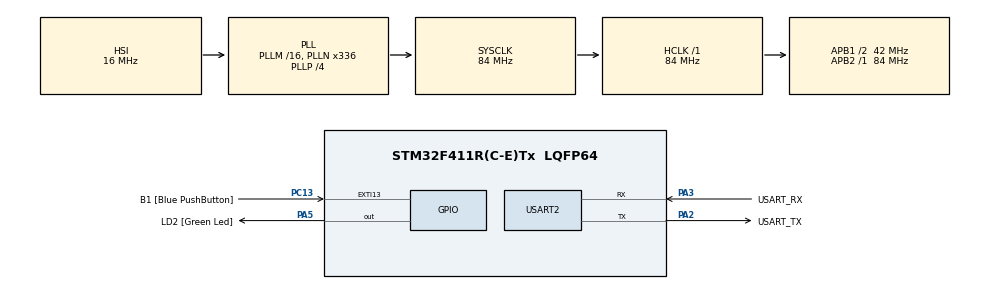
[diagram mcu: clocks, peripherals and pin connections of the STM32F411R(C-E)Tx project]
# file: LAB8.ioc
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Mcu.Family=STM32F4
PC15-OSC32_OUT.Mode=LSE-External-Oscillator
RCC.CortexFreq_Value=84000000
PC13-ANTI_TAMP.GPIO_Label=B1 [Blue PushButton]
PA14.GPIO_Label=TCK
PH1\ -\ OSC_OUT.Mode=HSE-External-Clock-Source
RCC.APB1CLKDivider=RCC_HCLK_DIV2
PC14-OSC32_IN.Signal=RCC_OSC32_IN
NVIC.USART2_IRQn=true\:0\:0\:false\:false\:true\:true\:true
RCC.SYSCLKSource=RCC_SYSCLKSOURCE_PLLCLK
ProjectManager.StackSize=0x400
PA13.Signal=SYS_JTMS-SWDIO
PA3.Mode=Asynchronous
PH0\ -\ OSC_IN.Mode=HSE-External-Clock-Source
PH0\ -\ OSC_IN.Signal=RCC_OSC_IN
ProjectManager.TargetToolchain=STM32CubeIDE
RCC.HCLKFreq_Value=84000000
RCC.APB2TimFreq_Value=84000000
PC15-OSC32_OUT.Signal=RCC_OSC32_OUT
RCC.AHBFreq_Value=84000000
PA5.Signal=GPIO_Output
RCC.HSE_VALUE=8000000
PH1\ -\ OSC_OUT.Signal=RCC_OSC_OUT
board=NUCLEO-F411RE
PC13-ANTI_TAMP.Signal=GPXTI13
RCC.VCOOutputFreq_Value=336000000
RCC.APB2Freq_Value=84000000
PC14-OSC32_IN.Mode=LSE-External-Oscillator
PA14.Mode=Serial_Wire
PA13.Mode=Serial_Wire
Mcu.Name=STM32F411R(C-E)Tx
PA2.Signal=USART2_TX
PA13.GPIO_Label=TMS
RCC.FLatency-AdvancedSettings=FLASH_LATENCY_2
RCC.48MHZClocksFreq_Value=84000000
PB3.Signal=SYS_JTDO-SWO
RCC.SYSCLKFreq_VALUE=84000000
Mcu.Package=LQFP64
PA5.GPIO_Label=LD2 [Green Led]
USART2.VirtualMode=VM_ASYNC
PC13-ANTI_TAMP.GPIO_ModeDefaultEXTI=GPIO_MODE_IT_FALLING
PA2.GPIO_Label=USART_TX
PA14.Signal=SYS_JTCK-SWCLK
ProjectManager.HeapSize=0x200
RCC.HSI_VALUE=16000000
RCC.PLLP=RCC_PLLP_DIV4
NVIC.PriorityGroup=NVIC_PRIORITYGROUP_0
RCC.PLLN=336
RCC.APB1TimFreq_Value=84000000
PA2.Mode=Asynchronous
RCC.APB1Freq_Value=42000000
PA3.GPIO_Label=USART_RX
PA3.Signal=USART2_RX
PB3.GPIO_Label=SWO

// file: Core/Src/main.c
/* USER CODE BEGIN Header */
/**
  ******************************************************************************
  * @file           : main.c
  * @brief          : Main program body
  ******************************************************************************
  * @attention
  *
  * <h2><center>&copy; Copyright (c) 2021 STMicroelectronics.
  * All rights reserved.</center></h2>
  *
  * This software component is licensed by ST under BSD 3-Clause license,
  * the "License"; You may not use this file except in compliance with the
  * License. You may obtain a copy of the License at:
  *                        opensource.org/licenses/BSD-3-Clause
  *
  ******************************************************************************
  */
/* USER CODE END Header */
#include "main.h"

/* USER CODE BEGIN Includes */
#include <stdio.h>
#include <string.h>
/* USER CODE END Includes */

/* USER CODE BEGIN PM */
char TxDataBuffer[32] =
{ 0 };
char RxDataBuffer[1] =
{ 0 };
char ShowHz[32] =
{ 0 } ;
enum _state
{
	State_start = 0 ,
	State_menu ,
	State_seclect_menu,
	State_menu_1,
	State_menu_2

};

/* USER CODE END PM */

UART_HandleTypeDef huart2;

/* USER CODE BEGIN PV */
int StateDisplay = 0 ;
int Datain = 0;
int8_t SpeedHz = 0 ;
uint32_t LED2 = 0 ;

int CheckLED = 1 ;
int CheckButton = 0 ;

float T = 0 ;
int f = 1 ;
/* USER CODE END PV */

void SystemClock_Config(void);
static void MX_GPIO_Init(void);
static void MX_USART2_UART_Init(void);
/* USER CODE BEGIN PFP */
void UARTRecieveAndResponsePolling();
int16_t UARTRecieveIT();
void Hz();
/* USER CODE END PFP */

int main(void)
{

  /* MCU Configuration--------------------------------------------------------*/

  /* Reset of all peripherals, Initializes the Flash interface and the Systick. */
HAL_Init();

  /* Configure the system clock */
  SystemClock_Config();

  /* Initialize all configured peripherals */
  MX_GPIO_Init();
  MX_USART2_UART_Init();
  /* USER CODE BEGIN 2 */
  uint32_t Timestmp = 0  ;
  uint32_t ButtonTimestamp = 0 ;
  GPIO_PinState BlueButton[2] ;
int point = 0 ;
//  {
//  char temp[]="HELLO WORLD\r\n please type something to test UART\r\n";
//  HAL_UART_Transmit(&huart2, (uint8_t*)temp, strlen(temp),10);
//
//  }
  /* USER CODE END 2 */

  /* Infinite loop */
  /* USER CODE BEGIN WHILE */
  while (1)
  {
		/*Method 1 Polling Mode*/

//		UARTRecieveAndResponsePolling();

		/*Method 2 Interrupt Mode*/
		HAL_UART_Receive_IT(&huart2,  (uint8_t*)RxDataBuffer, 1);

		/*Method 2 W/ 1 Char Received*/
//		int16_t inputchar = UARTRecieveIT();
//		if(inputchar!=-1)
//		{
//
//			sprintf(TxDataBuffer, "[%c]", inputchar);
//			HAL_UART_Transmit(&huart2, (uint8_t*)TxDataBuffer, strlen(TxDataBuffer), 1000);
//		}

		/*This section just simmulate Work Load*/
//		HAL_Delay(100);
//		HAL_GPIO_TogglePin(LD2_GPIO_Port, LD2_Pin);

		switch (StateDisplay) {
			case State_start:
				StateDisplay = State_menu ;
				break;
			case State_menu:
			  RxDataBuffer[0] = 0 ;
			  {
			  char temp[]="*********************************\r\n";
			  HAL_UART_Transmit(&huart2, (uint8_t*)temp, strlen(temp),10);
			  }
			  {
			  char temp[]="****************MENU*************\r\n";
			  HAL_UART_Transmit(&huart2, (uint8_t*)temp, strlen(temp),10);
			  }
			  {
			  char temp[]="*********************************\r\n";
			  HAL_UART_Transmit(&huart2, (uint8_t*)temp, strlen(temp),10);
			  }
			  {
			  char temp[]="please press right\r\n press 0 : LED Control\r\n press 1 : buttonstate\r\n";
			  HAL_UART_Transmit(&huart2, (uint8_t*)temp, strlen(temp),10);
			  }
			  {
			  char temp[]="********************************\r\n";
			  HAL_UART_Transmit(&huart2, (uint8_t*)temp, strlen(temp),10);
			  }
			  StateDisplay = State_seclect_menu ;
				break;
			case State_seclect_menu :

				switch (RxDataBuffer[0]) {
					case 0:
						break;
					case 48 : //0
						{
						char temp[]="MENU 0 : LED Control\r\n";
						HAL_UART_Transmit(&huart2, (uint8_t*)temp, strlen(temp),100);
						}
						{
						char temp[]=" press a : Speed Up +1 Hz\r\n press s : Speed Up -1 Hz\r\n press d : ON/OFF LED 2\r\n press x : exit\r\n";
						HAL_UART_Transmit(&huart2, (uint8_t*)temp, strlen(temp),100);
						}
						RxDataBuffer[0] = 0 ;
						StateDisplay = State_menu_1 ;
						break;
					case 49 : //1
						{
						char temp[]="MENU 1 : buttonstate\r\n";
						HAL_UART_Transmit(&huart2, (uint8_t*)temp, strlen(temp),100);
						}
						{
						char temp[]=" press x : exit\r\n Show Button status press bluebutton\r\n";
						HAL_UART_Transmit(&huart2, (uint8_t*)temp, strlen(temp),100);
						}
						RxDataBuffer[0] = 0 ;
						StateDisplay = State_menu_2 ;
						break;
					default:
						{
						char temp[]="Wrong, please press again.\r\n";
						HAL_UART_Transmit(&huart2, (uint8_t*)temp, strlen(temp),10);
						}
						RxDataBuffer[0] = 0 ;
						StateDisplay = State_seclect_menu ;
						break;
					}
				break ;
			case State_menu_1 :
				//RxDataBuffer[0] = 0 ;
				switch (RxDataBuffer[0]) {
					case 0:
						break;
					case 97 : //a
						f = f + 1 ;
						sprintf(ShowHz, "frequency %d Hz \r\n", f);
						HAL_UART_Transmit(&huart2, (uint8_t*)ShowHz, strlen(ShowHz), 1000);
						RxDataBuffer[0] = 0 ;
						StateDisplay = State_menu_1 ;
						break ;
					case 115 : //s

						f = f - 1 ;
						sprintf(ShowHz, "frequency %d Hz\r\n", f);
						HAL_UART_Transmit(&huart2, (uint8_t*)ShowHz, strlen(ShowHz), 1000);

						RxDataBuffer[0] = 0 ;
						StateDisplay = State_menu_1 ;

						break ;
					case 100 : //d
						//HAL_GPIO_TogglePin(LD2_GPIO_Port, LD2_Pin);
						if(HAL_GPIO_ReadPin(LD2_GPIO_Port, LD2_Pin) == GPIO_PIN_SET)
						{
							CheckLED = 0;
							HAL_GPIO_WritePin(LD2_GPIO_Port, LD2_Pin, GPIO_PIN_RESET);
							{
							char temp[]="LED2 OFF\r\n";
							HAL_UART_Transmit(&huart2, (uint8_t*)temp, strlen(temp),10);
							}
							RxDataBuffer[0] = 0 ;
							StateDisplay = State_menu_1 ;
						}
						else
						{
							CheckLED = 1 ;
							{
							HAL_GPIO_WritePin(LD2_GPIO_Port, LD2_Pin, GPIO_PIN_SET);
							char temp[]="LED2 ON\r\n";
							HAL_UART_Transmit(&huart2, (uint8_t*)temp, strlen(temp),10);
							}
							RxDataBuffer[0] = 0 ;
							StateDisplay = State_menu_1 ;
						}
						StateDisplay = State_menu_1 ;
						break;
					case 120 : //x
						{
						char temp[]="back to menu\r\n";
						HAL_UART_Transmit(&huart2, (uint8_t*)temp, strlen(temp),10);
						}
						RxDataBuffer[0] = 0 ;
						StateDisplay = State_menu ;
						break;
					default:
						{
						char temp[]="Wrong, please press again.\r\n";
						HAL_UART_Transmit(&huart2, (uint8_t*)temp, strlen(temp),10);
						}
						RxDataBuffer[0] = 0 ;
						StateDisplay = State_menu_1 ;
						break;
				}

				break;
			case State_menu_2 :
				//RxDataBuffer[0] = 0 ;
				CheckButton = 1 ;
				switch (RxDataBuffer[0]) {
					case 0:
						break;
					case 120 : //x
						CheckButton = 0 ;
						{
						char temp[]="back to menu\r\n";
						HAL_UART_Transmit(&huart2, (uint8_t*)temp, strlen(temp),10);
						}
						RxDataBuffer[0] = 0 ;
						CheckButton =0 ;
						StateDisplay = State_menu ;
						break;
					default:
						{
						char temp[]="Wrong, please press again.\r\n";
						HAL_UART_Transmit(&huart2, (uint8_t*)temp, strlen(temp),10);
						}
						RxDataBuffer[0] = 0 ;
						StateDisplay = State_menu_2 ;
						break;
					}

				break;

		}//switch

		if(CheckLED == 1)
		{
			T = f*1000 ;
			LED2 = T / 2 ;
			if(HAL_GetTick() - Timestmp >LED2)
			{
				Timestmp = HAL_GetTick() ;
				HAL_GPIO_TogglePin(LD2_GPIO_Port, LD2_Pin);

			}
		}
		if(CheckButton == 1)
			{
				if(HAL_GetTick() - ButtonTimestamp >= 100 )
				{
					ButtonTimestamp = HAL_GetTick() ;
					BlueButton[0] = HAL_GPIO_ReadPin(GPIOC, GPIO_PIN_13) ;
					if(BlueButton[1] == GPIO_PIN_SET && BlueButton[0] == GPIO_PIN_RESET)
					{
						{
						char temp[]="if button press\r\n";
						HAL_UART_Transmit(&huart2, (uint8_t*)temp, strlen(temp),10);
						}
						point = 1 ;
					}
					if(point == 1)
					if(BlueButton[0] == GPIO_PIN_SET && BlueButton[1] == GPIO_PIN_RESET)
					{
						{
						char temp[]="unpress\r\n";
						HAL_UART_Transmit(&huart2, (uint8_t*)temp, strlen(temp),10);
						}
						point =0;
					}
				BlueButton[1] = BlueButton[0] ;
				}
			}

    /* USER CODE END WHILE */

  }
}

void SystemClock_Config(void)
{
  RCC_OscInitTypeDef RCC_OscInitStruct = {0};
  RCC_ClkInitTypeDef RCC_ClkInitStruct = {0};

  /** Configure the main internal regulator output voltage
  */
  __HAL_RCC_PWR_CLK_ENABLE();
  __HAL_PWR_VOLTAGESCALING_CONFIG(PWR_REGULATOR_VOLTAGE_SCALE1);
  /** Initializes the RCC Oscillators according to the specified parameters
  * in the RCC_OscInitTypeDef structure.
  */
  RCC_OscInitStruct.OscillatorType = RCC_OSCILLATORTYPE_HSI;
  RCC_OscInitStruct.HSIState = RCC_HSI_ON;
  RCC_OscInitStruct.HSICalibrationValue = RCC_HSICALIBRATION_DEFAULT;
  RCC_OscInitStruct.PLL.PLLState = RCC_PLL_ON;
  RCC_OscInitStruct.PLL.PLLSource = RCC_PLLSOURCE_HSI;
  RCC_OscInitStruct.PLL.PLLM = 16;
  RCC_OscInitStruct.PLL.PLLN = 336;
  RCC_OscInitStruct.PLL.PLLP = RCC_PLLP_DIV4;
  RCC_OscInitStruct.PLL.PLLQ = 4;
  if (HAL_RCC_OscConfig(&RCC_OscInitStruct) != HAL_OK)
  {
    Error_Handler();
  }
  /** Initializes the CPU, AHB and APB buses clocks
  */
  RCC_ClkInitStruct.ClockType = RCC_CLOCKTYPE_HCLK|RCC_CLOCKTYPE_SYSCLK
                              |RCC_CLOCKTYPE_PCLK1|RCC_CLOCKTYPE_PCLK2;
  RCC_ClkInitStruct.SYSCLKSource = RCC_SYSCLKSOURCE_PLLCLK;
  RCC_ClkInitStruct.AHBCLKDivider = RCC_SYSCLK_DIV1;
  RCC_ClkInitStruct.APB1CLKDivider = RCC_HCLK_DIV2;
  RCC_ClkInitStruct.APB2CLKDivider = RCC_HCLK_DIV1;

  if (HAL_RCC_ClockConfig(&RCC_ClkInitStruct, FLASH_LATENCY_2) != HAL_OK)
  {
    Error_Handler();
  }
}

static void MX_USART2_UART_Init(void)
{

  huart2.Instance = USART2;
  huart2.Init.BaudRate = 115200;
  huart2.Init.WordLength = UART_WORDLENGTH_8B;
  huart2.Init.StopBits = UART_STOPBITS_1;
  huart2.Init.Parity = UART_PARITY_NONE;
  huart2.Init.Mode = UART_MODE_TX_RX;
  huart2.Init.HwFlowCtl = UART_HWCONTROL_NONE;
  huart2.Init.OverSampling = UART_OVERSAMPLING_16;
  if (HAL_UART_Init(&huart2) != HAL_OK)
  {
    Error_Handler();
  }

}

static void MX_GPIO_Init(void)
{
  GPIO_InitTypeDef GPIO_InitStruct = {0};

  /* GPIO Ports Clock Enable */
  __HAL_RCC_GPIOC_CLK_ENABLE();
  __HAL_RCC_GPIOH_CLK_ENABLE();
  __HAL_RCC_GPIOA_CLK_ENABLE();
  __HAL_RCC_GPIOB_CLK_ENABLE();

  /*Configure GPIO pin Output Level */
  HAL_GPIO_WritePin(LD2_GPIO_Port, LD2_Pin, GPIO_PIN_RESET);

  /*Configure GPIO pin : B1_Pin */
  GPIO_InitStruct.Pin = B1_Pin;
  GPIO_InitStruct.Mode = GPIO_MODE_IT_FALLING;
  GPIO_InitStruct.Pull = GPIO_NOPULL;
  HAL_GPIO_Init(B1_GPIO_Port, &GPIO_InitStruct);

  /*Configure GPIO pin : LD2_Pin */
  GPIO_InitStruct.Pin = LD2_Pin;
  GPIO_InitStruct.Mode = GPIO_MODE_OUTPUT_PP;
  GPIO_InitStruct.Pull = GPIO_NOPULL;
  GPIO_InitStruct.Speed = GPIO_SPEED_FREQ_LOW;
  HAL_GPIO_Init(LD2_GPIO_Port, &GPIO_InitStruct);

}

/* USER CODE BEGIN 4 */
//void UARTRecieveAndResponsePolling()
//{
//	char Recieve[32]={0};
//
//	HAL_UART_Receive(&huart2, (uint8_t*)Recieve, 32, 1000);
//
//	sprintf(TxDataBuffer, "Received:[%s]\r\n", Recieve);
//	HAL_UART_Transmit(&huart2, (uint8_t*)TxDataBuffer, strlen(TxDataBuffer), 1000);
//
//}

//int16_t UARTRecieveIT()
//{
//	static uint32_t dataPos =0;
//	int16_t data=-1;
//	if(huart2.RxXferSize - huart2.RxXferCount!=dataPos)
//	{
//		data=RxDataBuffer[dataPos];
//		dataPos= (dataPos+1)%huart2.RxXferSize;
//	}
//	return data;
//}

void HAL_UART_RxCpltCallback(UART_HandleTypeDef *huart)
{
	//	sprintf(TxDataBuffer, "Received:[%s]\r\n", RxDataBuffer);
//	HAL_UART_Transmit(&huart2, (uint8_t*)TxDataBuffer, strlen(TxDataBuffer), 1000);

}
void Hz()
{
	f = f - 1 ;

//						if(SpeedHz == -1)
//						{SpeedHz = 0 ;}
//	sprintf(ShowHz, "frequency[%d]Hz", f);
//	HAL_UART_Transmit(&huart2, (uint8_t*)ShowHz, strlen(ShowHz), 1000);

}
/* USER CODE END 4 */

void Error_Handler(void)
{
  __disable_irq();
  while (1)
  {
  }
}

/************************ (C) COPYRIGHT STMicroelectronics *****END OF FILE****/
